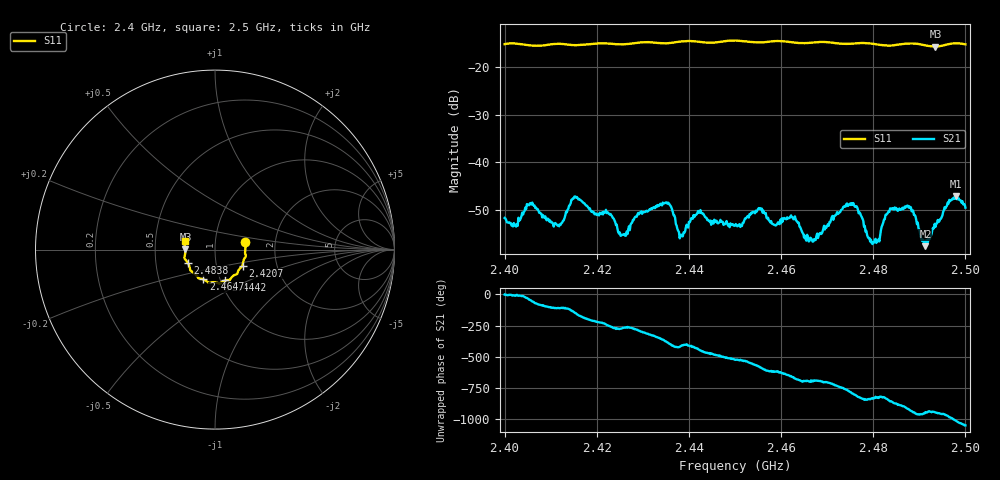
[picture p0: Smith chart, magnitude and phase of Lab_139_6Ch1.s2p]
# Hz S RI R
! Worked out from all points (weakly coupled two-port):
!   601 points, 2.4 GHz to 2.5 GHz, reference 50 ohm
!   highest |S21| = -47.18 dB at 2.498 GHz (marker M1); lowest = -57.7 dB at 2.4913 GHz (marker M2)
!   lowest |S11| = -15.7 dB at 2.4935 GHz (marker M3), VSWR 1.39, Z = 35.9 + j0.107 ohm
!   |S11| at or under -10 dB: start of sweep to end of sweep
!   S12 and S22 are empty: the file has one direction only
!   S11 on the Smith chart (normalised r, x): 2.4 GHz: 1.40, +0.11; 2.4207 GHz: 1.34, -0.25; 2.4442 GHz: 1.06, -0.37; 2.4647 GHz: 0.83, -0.29; 2.4838 GHz: 0.73, -0.11; 2.5 GHz: 0.71, +0.07
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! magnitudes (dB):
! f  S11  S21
! 2.4 GHz  -15.2  -51.7
! 2.4057 GHz  -15.4  -48.6
! 2.4118 GHz  -15.1  -53.5
! 2.4167 GHz  -15.3  -48.1
! 2.4207 GHz  -15.0  -50.6
! 2.4258 GHz  -15.2  -55.3
! 2.4333 GHz  -14.9  -49.2
! 2.4383 GHz  -14.6  -55.2
! 2.4442 GHz  -14.9  -52.1
! 2.45 GHz  -14.4  -53.3
! 2.4553 GHz  -14.8  -49.7
! 2.4647 GHz  -15.0  -54.9
! 2.4667 GHz  -14.8  -56.2
! 2.4752 GHz  -15.1  -49.0
! 2.4803 GHz  -15.2  -56.4
! 2.4833 GHz  -15.5  -50.3
! 2.4838 GHz  -15.5  -49.8
! 2.4882 GHz  -15.0  -49.5
! 2.4913 GHz  -15.4  -57.7
! 2.4935 GHz  -15.7  -53.6
! 2.498 GHz  -15.0  -47.2
! 2.5 GHz  -15.2  -49.6
